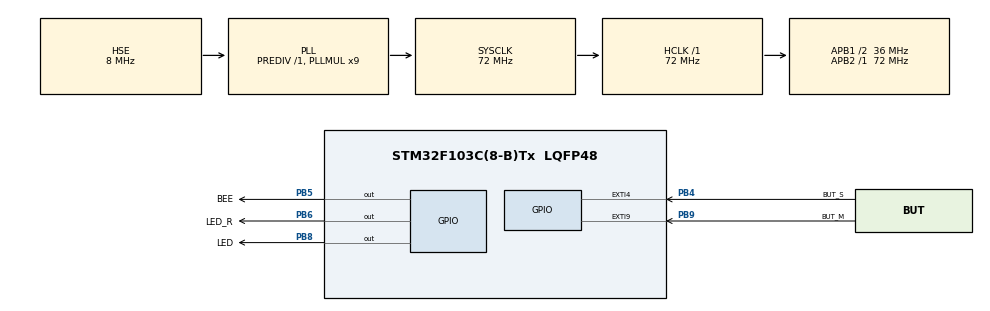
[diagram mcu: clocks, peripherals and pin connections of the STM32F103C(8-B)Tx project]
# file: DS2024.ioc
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Mcu.Family=STM32F1
Mcu.Name=STM32F103C(8-B)Tx
Mcu.Package=LQFP48
NVIC.EXTI4_IRQn=true\:10\:0\:true\:false\:true\:true\:true\:true
NVIC.EXTI9_5_IRQn=true\:13\:0\:true\:false\:true\:true\:true\:true
NVIC.PriorityGroup=NVIC_PRIORITYGROUP_4
PA13.Mode=Serial_Wire
PA13.Signal=SYS_JTMS-SWDIO
PA14.Mode=Serial_Wire
PA14.Signal=SYS_JTCK-SWCLK
PB4.GPIO_Label=BUT_S
PB4.GPIO_ModeDefaultEXTI=GPIO_MODE_IT_FALLING
PB4.GPIO_PuPd=GPIO_PULLUP
PB4.Signal=GPXTI4
PB5.GPIO_Label=BEE
PB5.GPIO_ModeDefaultOutputPP=GPIO_MODE_OUTPUT_PP
PB5.GPIO_PuPd=GPIO_PULLUP
PB5.PinState=GPIO_PIN_SET
PB5.Signal=GPIO_Output
PB6.GPIO_Label=LED_R
PB6.Signal=GPIO_Output
PB8.GPIO_Label=LED
PB8.GPIO_ModeDefaultOutputPP=GPIO_MODE_OUTPUT_OD
PB8.GPIO_PuPd=GPIO_NOPULL
PB8.GPIO_Speed=GPIO_SPEED_FREQ_HIGH
PB8.PinState=GPIO_PIN_SET
PB8.Signal=GPIO_Output
PB9.GPIO_Label=BUT_M
PB9.GPIO_ModeDefaultEXTI=GPIO_MODE_IT_FALLING
PB9.GPIO_PuPd=GPIO_PULLUP
PB9.Signal=GPXTI9
PC14-OSC32_IN.Mode=LSE-External-Oscillator
PC14-OSC32_IN.Signal=RCC_OSC32_IN
PC15-OSC32_OUT.Mode=LSE-External-Oscillator
PC15-OSC32_OUT.Signal=RCC_OSC32_OUT
PD0-OSC_IN.Mode=HSE-External-Oscillator
PD0-OSC_IN.Signal=RCC_OSC_IN
PD1-OSC_OUT.Mode=HSE-External-Oscillator
PD1-OSC_OUT.Signal=RCC_OSC_OUT
ProjectManager.HeapSize=0x200
ProjectManager.StackSize=0x400
ProjectManager.TargetToolchain=STM32CubeIDE
RCC.AHBFreq_Value=72000000
RCC.APB1CLKDivider=RCC_HCLK_DIV2
RCC.APB1Freq_Value=36000000
RCC.APB1TimFreq_Value=72000000
RCC.APB2Freq_Value=72000000
RCC.APB2TimFreq_Value=72000000
RCC.HCLKFreq_Value=72000000
RCC.PLLMUL=RCC_PLL_MUL9
RCC.PLLSourceVirtual=RCC_PLLSOURCE_HSE
RCC.RTCClockSelection=RCC_RTCCLKSOURCE_LSE
RCC.SYSCLKFreq_VALUE=72000000
RCC.SYSCLKSource=RCC_SYSCLKSOURCE_PLLCLK
RCC.USBFreq_Value=72000000
RTC.Date=11
RTC.Hours=15
RTC.Minutes=28
RTC.Month=RTC_MONTH_MAY
RTC.WeekDay=RTC_WEEKDAY_SATURDAY
TIM4.Prescaler=7200-1
VP_RTC_VS_RTC_Activate.Mode=RTC_Enabled
VP_RTC_VS_RTC_Calendar.Mode=RTC_Calendar
VP_TIM4_VS_ClockSourceINT.Mode=Internal
board=custom

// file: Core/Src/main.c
/* USER CODE BEGIN Header */
/**
  ******************************************************************************
  * @file           : main.c
  * @brief          : Main program body
  ******************************************************************************
  * @attention
  *
  * Copyright (c) 2024 STMicroelectronics.
  * All rights reserved.
  *
  * This software is licensed under terms that can be found in the LICENSE file
  * in the root directory of this software component.
  * If no LICENSE file comes with this software, it is provided AS-IS.
  *
  ******************************************************************************
  */
/* USER CODE END Header */
#include "main.h"
#include "rtc.h"
#include "tim.h"
#include "gpio.h"

/* USER CODE BEGIN Includes */

#include "DATA.h"

/* USER CODE END Includes */

/* USER CODE BEGIN PV */

uint8_t state = 0;

/* USER CODE END PV */

void SystemClock_Config(void);

int main(void) {

	/* MCU Configuration--------------------------------------------------------*/

	/* Reset of all peripherals, Initializes the Flash interface and the Systick. */
	HAL_Init();

	/* Configure the system clock */
	SystemClock_Config();

	/* Initialize all configured peripherals */
	MX_GPIO_Init();
	MX_TIM4_Init();
	MX_RTC_Init();
	/* USER CODE BEGIN 2 */

	//init

	RTC_TimeTypeDef aTime;

	/* USER CODE END 2 */

	/* Infinite loop */
	/* USER CODE BEGIN WHILE */
	while (1) {
		//state machine
		switch (state) {
			//debug
			case 0: HAL_GPIO_WritePin(GPIOB, LED_Pin, GPIO_PIN_RESET);
				HAL_GPIO_WritePin(GPIOB, LED_R_Pin, GPIO_PIN_SET);
				break;

				//manual send signal
			case 1: Manual_Signal();
				break;

				//auto send signal
			case 2:
				if (HAL_GPIO_ReadPin(GPIOB, BUT_S_Pin) == GPIO_PIN_RESET) {
					//send signal
					Auto_Morse_Signal(XS018);
					HAL_Delay(5000);
					Auto_Morse_Signal(SOS);
				}
				break;

				//pic date transfer
			case 3:
				if (HAL_GPIO_ReadPin(GPIOB, BUT_S_Pin) == GPIO_PIN_RESET) {

					HAL_RTC_GetTime(&hrtc, &aTime, RTC_FORMAT_BIN);
					FibreTran_Start();
					FibreTran_DATA(7);
					FibreTran_DATA(aTime.Hours);
					FibreTran_DATA(aTime.Minutes);
					FibreTran_DATA(aTime.Seconds);
					FibreTran_End();
				}
				break;

			case 4:
				if (HAL_GPIO_ReadPin(GPIOB, BUT_S_Pin) == GPIO_PIN_RESET) {
					FibreTran_Pic((uint8_t *)Image);
				}
				break;
		}
		/* USER CODE END WHILE */

	}
}

void SystemClock_Config(void) {
	RCC_OscInitTypeDef RCC_OscInitStruct = {0};
	RCC_ClkInitTypeDef RCC_ClkInitStruct = {0};
	RCC_PeriphCLKInitTypeDef PeriphClkInit = {0};

	/** Initializes the RCC Oscillators according to the specified parameters
	* in the RCC_OscInitTypeDef structure.
	*/
	RCC_OscInitStruct.OscillatorType = RCC_OSCILLATORTYPE_HSE | RCC_OSCILLATORTYPE_LSE;
	RCC_OscInitStruct.HSEState = RCC_HSE_ON;
	RCC_OscInitStruct.HSEPredivValue = RCC_HSE_PREDIV_DIV1;
	RCC_OscInitStruct.LSEState = RCC_LSE_ON;
	RCC_OscInitStruct.HSIState = RCC_HSI_ON;
	RCC_OscInitStruct.PLL.PLLState = RCC_PLL_ON;
	RCC_OscInitStruct.PLL.PLLSource = RCC_PLLSOURCE_HSE;
	RCC_OscInitStruct.PLL.PLLMUL = RCC_PLL_MUL9;
	if (HAL_RCC_OscConfig(&RCC_OscInitStruct) != HAL_OK) {
		Error_Handler();
	}

	/** Initializes the CPU, AHB and APB buses clocks
	*/
	RCC_ClkInitStruct.ClockType = RCC_CLOCKTYPE_HCLK | RCC_CLOCKTYPE_SYSCLK
		| RCC_CLOCKTYPE_PCLK1 | RCC_CLOCKTYPE_PCLK2;
	RCC_ClkInitStruct.SYSCLKSource = RCC_SYSCLKSOURCE_PLLCLK;
	RCC_ClkInitStruct.AHBCLKDivider = RCC_SYSCLK_DIV1;
	RCC_ClkInitStruct.APB1CLKDivider = RCC_HCLK_DIV2;
	RCC_ClkInitStruct.APB2CLKDivider = RCC_HCLK_DIV1;

	if (HAL_RCC_ClockConfig(&RCC_ClkInitStruct, FLASH_LATENCY_2) != HAL_OK) {
		Error_Handler();
	}
	PeriphClkInit.PeriphClockSelection = RCC_PERIPHCLK_RTC;
	PeriphClkInit.RTCClockSelection = RCC_RTCCLKSOURCE_LSE;
	if (HAL_RCCEx_PeriphCLKConfig(&PeriphClkInit) != HAL_OK) {
		Error_Handler();
	}
}

/* USER CODE BEGIN 4 */

//button mode switch
void HAL_GPIO_EXTI_Callback(uint16_t GPIO_Pin) {
	if (GPIO_Pin == BUT_M_Pin) {
		state++;
		if (state == 5) {
			state = 0;
		}

		if (state  < 3) {
			for (int i = 0; i < state; ++i) {
				BEE_Delay(50);
				HAL_Delay(50);
			}
		}
		if (state >= 3) {
			for (int i = 0; i < state - 2; ++i) {
				BEE_Delay(200);
				HAL_Delay(200);
			}
		}

	}
}

/* USER CODE END 4 */

void Error_Handler(void) {
	__disable_irq();
	while (1) {
	}
}
